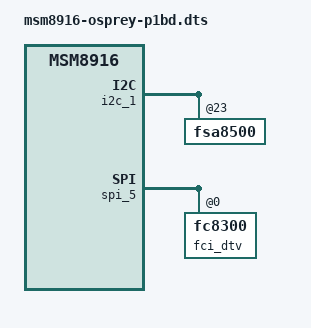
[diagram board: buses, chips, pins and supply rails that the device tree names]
/* Copyright (c) 2014-2015, Motorola Mobility LLC. All rights reserved.
*
* This program is free software; you can redistribute it and/or modify
* it under the terms of the GNU General Public License version 2 and
* only version 2 as published by the Free Software Foundation.
*
* This program is distributed in the hope that it will be useful,
* but WITHOUT ANY WARRANTY; without even the implied warranty of
* MERCHANTABILITY or FITNESS FOR A PARTICULAR PURPOSE.  See the
* GNU General Public License for more details.
*/

/dts-v1/;

#include "msm8916-osprey.dtsi"
#include "msm8916-osprey-panel-p1-common.dtsi"

/ {
	qcom,board-id = <0x49 0x81bd>;
};

&tlmm_pinmux {
	pmx_sdc2_clk {
		sdc2_clk_on: clk_on {
			drive-strength = <12>; /* 12 MA */
		};
	};
};

&i2c_1 {
	fsa8500@23 {
		status = "ok";
	};
};

&stml0xx {
	headset_detect_enable = <0>;
	headset_hw_version = <0>;
};

&spi_5 {
	status = "ok";
	fci_dtv: fc8300@0 {
		status = "ok";
	};
};
